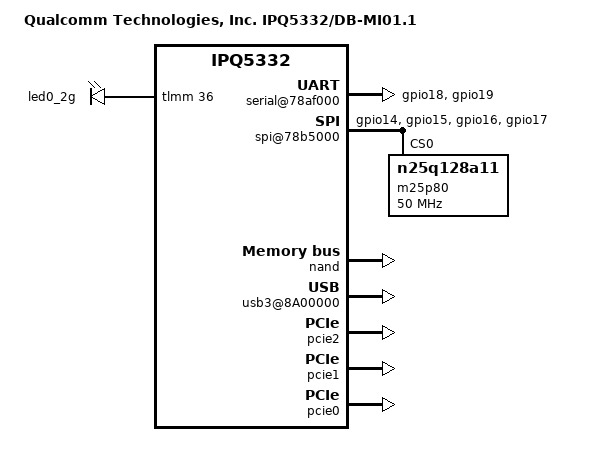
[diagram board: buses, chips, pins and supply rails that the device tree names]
// SPDX-License-Identifier: (GPL-2.0+ OR BSD-3-Clause)
/*
 * IPQ5332 DB-MI01.1 board device tree source
 *
 * Copyright (c) 2020-2021 The Linux Foundation. All rights reserved.
 * Copyright (c) 2022 Qualcomm Innovation Center, Inc. All rights reserved.
 */

/dts-v1/;

#include "ipq5332.dtsi"

#ifdef __IPQ_MEM_PROFILE_512_MB__
#include "ipq5332-512MB-memory.dtsi"
#else
#include "ipq5332-default-memory.dtsi"
#endif

/ {
	#address-cells = <0x2>;
	#size-cells = <0x2>;
	model = "Qualcomm Technologies, Inc. IPQ5332/DB-MI01.1";
	compatible = "qcom,ipq5332-db-mi01.1", "qcom,ipq5332";
	interrupt-parent = <&intc>;

	aliases {
		serial0 = &blsp1_uart0;
	};

	chosen {
		stdout-path = "serial0";
		bootargs-append = " clk_ignore_unused";
	};

	soc {
		pinctrl@1000000 {
			spi_0_pins: spi0-pinmux {
				spi_clock {
					pins = "gpio14";
					function = "blsp0_spi";
					drive-strength = <8>;
					bias-pull-down;
				};

				spi_mosi {
					pins = "gpio15";
					function = "blsp0_spi";
					drive-strength = <8>;
					bias-pull-down;
				};

				spi_miso {
					pins = "gpio16";
					function = "blsp0_spi";
					drive-strength = <8>;
					bias-pull-down;
				};

				spi_cs {
					pins = "gpio17";
					function = "blsp0_spi";
					drive-strength = <8>;
					bias-pull-up;
				};
			};

			serial_0_pins: serial0-pinmux {
				pins = "gpio18", "gpio19";
				function = "blsp0_uart0";
				drive-strength = <8>;
				bias-pull-up;
			};

			leds_pins: leds_pinmux {
				led0_2g {
					pins = "gpio36";
					function = "gpio";
					drive-strength = <8>;
					bias-pull-down;
				};
			};
		};

		gcc: gcc@1800000 {
			gcc-use-dummy;
		};

		nsscc: nsscc@39b00000 {
			nsscc-use-dummy;
		};

		serial@78af000 {
			pinctrl-0 = <&serial_0_pins>;
			pinctrl-names = "default";
			status = "ok";
		};

		spi@78b5000 {
			pinctrl-0 = <&spi_0_pins>;
			pinctrl-names = "default";
			cs-select = <0>;
			status = "ok";

			m25p80@0 {
				compatible = "n25q128a11";
				#address-cells = <1>;
				#size-cells = <1>;
				reg = <0>;
				spi-max-frequency = <50000000>;
			};
		};

		dma@7984000 {
			status = "ok";
		};

		nand: nand@79b0000 {
			pinctrl-0 = <&qspi_nand_pins>;
			pinctrl-names = "default";
			status = "ok";
		};

		usb3@8A00000 {
			status = "ok";

			dwc_0: dwc3@8A00000 {
				/delete-property/ #phy-cells;
				/delete-property/ phys;
				/delete-property/ phy-names;
			};
		};

		hs_m31phy_0: hs_m31phy@7b000 {
			status = "ok";
		};

		leds {
			compatible = "gpio-leds";
			pinctrl-0 = <&leds_pins>;
			pinctrl-names = "default";
			led@36 {
				label = "led0_2g";
				gpios = <&tlmm 36 GPIO_ACTIVE_HIGH>;
				linux,default-trigger = "led_2g";
				default-state = "off";
			};
		};

		pcie0_phy: phy@4b0000 {
			status = "ok";
		};

		pcie1_phy_x2: phy_x2@4b1000 {
			status = "ok";
		};

		pcie2_phy: phy@4b1800 {
			status = "ok";
		};

		pcie2: pcie@10000000 {
			max-link-speed = <1>;
			perst-gpio = <&tlmm 44 GPIO_ACTIVE_LOW>;
			status = "ok";
			pcie2_rp {
				reg = <0 0 0 0 0>;

				qcom,mhi@1 {
					reg = <0 0 0 0 0>;
				};
			};
		};

		pcie1: pcie@18000000 {
			max-link-speed = <1>;
			perst-gpio = <&tlmm 47 GPIO_ACTIVE_LOW>;
			status = "ok";
			pcie1_rp {
				reg = <0 0 0 0 0>;

				qcom,mhi@1 {
					reg = <0 0 0 0 0>;
				};
			};
		};

		pcie0: pcie@20000000 {
			max-link-speed = <1>;
			perst-gpio = <&tlmm 38 GPIO_ACTIVE_LOW>;
			status = "ok";
			pcie0_rp {
				reg = <0 0 0 0 0>;

				qcom,mhi@2 {
					reg = <0 0 0 0 0>;
				};
			};
		};
	};
};
